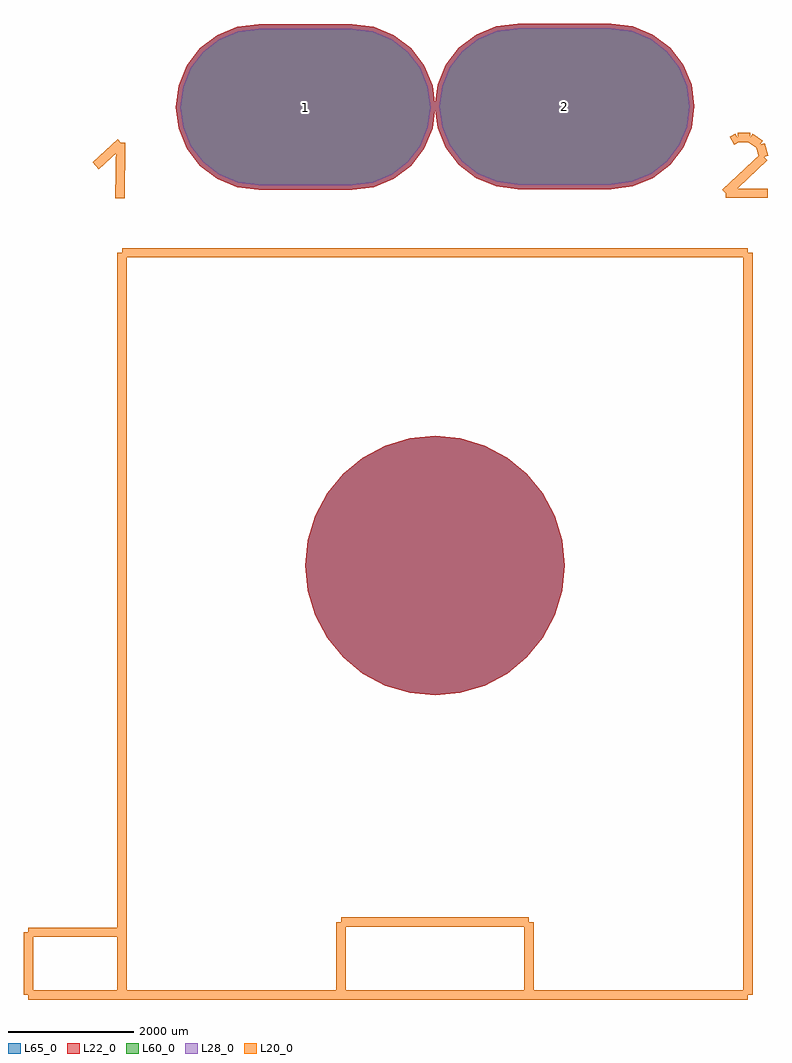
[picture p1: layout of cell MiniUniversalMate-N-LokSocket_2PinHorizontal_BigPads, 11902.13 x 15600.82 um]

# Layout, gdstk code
import gdstk
lib = gdstk.Library(unit=1e-6, precision=1e-09)
def P(c, l, *ps):  # polygons
    for p in ps: c.add(gdstk.Polygon(p, *l))
L20_0 = (20, 0)
L22_0 = (22, 0)
L28_0 = (28, 0)
L60_0 = (60, 0)
L65_0 = (65, 0)

miniuniversalmate_n_loks = lib.new_cell('MiniUniversalMate-N-LokSocket_2PinHorizontal_BigPads')
P(miniuniversalmate_n_loks, L22_0, [(-2820.67,-1334.84),(-1319.53,-1334.84),(-976.678,-1289.703),(-657.19,-1157.367),(-382.84,-946.85),(-172.323,-672.5),(-39.987,-353.012),(5.15,-10.16),(-39.987,332.692),(-172.323,652.18),(-382.84,926.53),(-657.19,1137.047),(-976.678,1269.383),(-1319.53,1314.52),(-2820.67,1314.52),(-3163.522,1269.383),(-3483.01,1137.047),(-3757.36,926.53),(-3967.877,652.18),(-4100.213,332.692),(-4145.35,-10.16),(-4100.213,-353.012),(-3967.877,-672.5),(-3757.36,-946.85),(-3483.01,-1157.367),(-3163.522,-1289.703)],
  [(2075.25,-7340.6),(2035.375,-6935.739),(1917.281,-6546.436),(1725.507,-6187.653),(1467.423,-5873.177),(1152.947,-5615.093),(794.164,-5423.319),(404.861,-5305.225),(0,-5265.35),(-404.861,-5305.225),(-794.164,-5423.319),(-1152.947,-5615.093),(-1467.423,-5873.177),(-1725.507,-6187.653),(-1917.281,-6546.436),(-2035.375,-6935.739),(-2075.25,-7340.6),(-2035.375,-7745.461),(-1917.281,-8134.764),(-1725.507,-8493.547),(-1467.423,-8808.023),(-1152.947,-9066.107),(-794.164,-9257.881),(-404.861,-9375.975),(0,-9415.85),(404.861,-9375.975),(794.164,-9257.881),(1152.947,-9066.107),(1467.423,-8808.023),(1725.507,-8493.547),(1917.281,-8134.764),(2035.375,-7745.461)],
  [(1319.53,-1324.68),(2820.67,-1324.68),(3163.522,-1279.543),(3483.01,-1147.207),(3757.36,-936.69),(3967.877,-662.34),(4100.213,-342.852),(4145.35,0),(4100.213,342.852),(3967.877,662.34),(3757.36,936.69),(3483.01,1147.207),(3163.522,1279.543),(2820.67,1324.68),(1319.53,1324.68),(976.678,1279.543),(657.19,1147.207),(382.84,936.69),(172.323,662.34),(39.987,342.852),(-5.15,0),(39.987,-342.852),(172.323,-662.34),(382.84,-936.69),(657.19,-1147.207),(976.678,-1279.543)])
P(miniuniversalmate_n_loks, L28_0, [(-2820.67,-1259.84),(-1319.53,-1259.84),(-996.089,-1217.258),(-694.69,-1092.415),(-435.873,-893.817),(-237.275,-635),(-112.432,-333.601),(-69.85,-10.16),(-112.432,313.281),(-237.275,614.68),(-435.873,873.497),(-694.69,1072.095),(-996.089,1196.938),(-1319.53,1239.52),(-2820.67,1239.52),(-3144.111,1196.938),(-3445.51,1072.095),(-3704.327,873.497),(-3902.925,614.68),(-4027.768,313.281),(-4070.35,-10.16),(-4027.768,-333.601),(-3902.925,-635),(-3704.327,-893.817),(-3445.51,-1092.415),(-3144.111,-1217.258)],
  [(1319.53,-1249.68),(2820.67,-1249.68),(3144.111,-1207.098),(3445.51,-1082.255),(3704.327,-883.657),(3902.925,-624.84),(4027.768,-323.441),(4070.35,0),(4027.768,323.441),(3902.925,624.84),(3704.327,883.657),(3445.51,1082.255),(3144.111,1207.098),(2820.67,1249.68),(1319.53,1249.68),(996.089,1207.098),(694.69,1082.255),(435.873,883.657),(237.275,624.84),(112.432,323.441),(69.85,0),(112.432,-323.441),(237.275,-624.84),(435.873,-883.657),(694.69,-1082.255),(996.089,-1207.098)])
P(miniuniversalmate_n_loks, L60_0, [(-2820.67,-1259.84),(-1319.53,-1259.84),(-996.089,-1217.258),(-694.69,-1092.415),(-435.873,-893.817),(-237.275,-635),(-112.432,-333.601),(-69.85,-10.16),(-112.432,313.281),(-237.275,614.68),(-435.873,873.497),(-694.69,1072.095),(-996.089,1196.938),(-1319.53,1239.52),(-2820.67,1239.52),(-3144.111,1196.938),(-3445.51,1072.095),(-3704.327,873.497),(-3902.925,614.68),(-4027.768,313.281),(-4070.35,-10.16),(-4027.768,-333.601),(-3902.925,-635),(-3704.327,-893.817),(-3445.51,-1092.415),(-3144.111,-1217.258)],
  [(1319.53,-1249.68),(2820.67,-1249.68),(3144.111,-1207.098),(3445.51,-1082.255),(3704.327,-883.657),(3902.925,-624.84),(4027.768,-323.441),(4070.35,0),(4027.768,323.441),(3902.925,624.84),(3704.327,883.657),(3445.51,1082.255),(3144.111,1207.098),(2820.67,1249.68),(1319.53,1249.68),(996.089,1207.098),(694.69,1082.255),(435.873,883.657),(237.275,624.84),(112.432,323.441),(69.85,0),(112.432,-323.441),(237.275,-624.84),(435.873,-883.657),(694.69,-1082.255),(996.089,-1207.098)])
P(miniuniversalmate_n_loks, L65_0, [(-2820.67,-1334.84),(-1319.53,-1334.84),(-976.678,-1289.703),(-657.19,-1157.367),(-382.84,-946.85),(-172.323,-672.5),(-39.987,-353.012),(5.15,-10.16),(-39.987,332.692),(-172.323,652.18),(-382.84,926.53),(-657.19,1137.047),(-976.678,1269.383),(-1319.53,1314.52),(-2820.67,1314.52),(-3163.522,1269.383),(-3483.01,1137.047),(-3757.36,926.53),(-3967.877,652.18),(-4100.213,332.692),(-4145.35,-10.16),(-4100.213,-353.012),(-3967.877,-672.5),(-3757.36,-946.85),(-3483.01,-1157.367),(-3163.522,-1289.703)],
  [(2075.25,-7340.6),(2035.375,-6935.739),(1917.281,-6546.436),(1725.507,-6187.653),(1467.423,-5873.177),(1152.947,-5615.093),(794.164,-5423.319),(404.861,-5305.225),(0,-5265.35),(-404.861,-5305.225),(-794.164,-5423.319),(-1152.947,-5615.093),(-1467.423,-5873.177),(-1725.507,-6187.653),(-1917.281,-6546.436),(-2035.375,-6935.739),(-2075.25,-7340.6),(-2035.375,-7745.461),(-1917.281,-8134.764),(-1725.507,-8493.547),(-1467.423,-8808.023),(-1152.947,-9066.107),(-794.164,-9257.881),(-404.861,-9375.975),(0,-9415.85),(404.861,-9375.975),(794.164,-9257.881),(1152.947,-9066.107),(1467.423,-8808.023),(1725.507,-8493.547),(1917.281,-8134.764),(2035.375,-7745.461)],
  [(1319.53,-1324.68),(2820.67,-1324.68),(3163.522,-1279.543),(3483.01,-1147.207),(3757.36,-936.69),(3967.877,-662.34),(4100.213,-342.852),(4145.35,0),(4100.213,342.852),(3967.877,662.34),(3757.36,936.69),(3483.01,1147.207),(3163.522,1279.543),(2820.67,1324.68),(1319.53,1324.68),(976.678,1279.543),(657.19,1147.207),(382.84,936.69),(172.323,662.34),(39.987,342.852),(-5.15,0),(39.987,-342.852),(172.323,-662.34),(382.84,-936.69),(657.19,-1147.207),(976.678,-1279.543)])
miniuniversalmate_n_loks.add(gdstk.FlexPath([(-5024.12,-579.12),(-5034.28,-1468.12)], 149.998, ends="flush", simple_path=True, layer=20, datatype=0))  # L20_0
miniuniversalmate_n_loks.add(gdstk.FlexPath([(-5422.9,-949.96),(-5024.12,-579.12)], 149.998, ends="flush", simple_path=True, layer=20, datatype=0))  # L20_0
miniuniversalmate_n_loks.add(gdstk.FlexPath([(4645.66,-1389.38),(5316.22,-1389.38)], 149.998, ends="flush", simple_path=True, layer=20, datatype=0))  # L20_0
miniuniversalmate_n_loks.add(gdstk.FlexPath([(5255.26,-810.26),(4645.66,-1389.38)], 149.998, ends="flush", simple_path=True, layer=20, datatype=0))  # L20_0
miniuniversalmate_n_loks.add(gdstk.FlexPath([(5196.84,-609.6),(5255.26,-810.26)], 149.998, ends="flush", simple_path=True, layer=20, datatype=0))  # L20_0
miniuniversalmate_n_loks.add(gdstk.FlexPath([(5036.82,-500.38),(5196.84,-609.6)], 149.998, ends="flush", simple_path=True, layer=20, datatype=0))  # L20_0
miniuniversalmate_n_loks.add(gdstk.FlexPath([(4836.16,-500.38),(5036.82,-500.38)], 149.998, ends="flush", simple_path=True, layer=20, datatype=0))  # L20_0
miniuniversalmate_n_loks.add(gdstk.FlexPath([(4747.26,-551.18),(4836.16,-500.38)], 149.998, ends="flush", simple_path=True, layer=20, datatype=0))  # L20_0
miniuniversalmate_n_loks.add(gdstk.FlexPath([(0,-14201.14),(5001.26,-14201.14)], 149.998, ends="flush", simple_path=True, layer=20, datatype=0))  # L20_0
miniuniversalmate_n_loks.add(gdstk.FlexPath([(0,-14201.14),(-5001.26,-14201.14)], 149.998, ends="flush", simple_path=True, layer=20, datatype=0))  # L20_0
miniuniversalmate_n_loks.add(gdstk.FlexPath([(5001.26,-2339.34),(5001.26,-14201.14)], 149.998, ends="flush", simple_path=True, layer=20, datatype=0))  # L20_0
miniuniversalmate_n_loks.add(gdstk.FlexPath([(-5001.26,-2339.34),(5001.26,-2339.34)], 149.998, ends="flush", simple_path=True, layer=20, datatype=0))  # L20_0
miniuniversalmate_n_loks.add(gdstk.FlexPath([(-5001.26,-14201.14),(-5001.26,-2339.34)], 149.998, ends="flush", simple_path=True, layer=20, datatype=0))  # L20_0
miniuniversalmate_n_loks.add(gdstk.FlexPath([(-1501.14,-13040.36),(-1501.14,-14201.14)], 149.998, ends="flush", simple_path=True, layer=20, datatype=0))  # L20_0
miniuniversalmate_n_loks.add(gdstk.FlexPath([(1501.14,-13040.36),(-1501.14,-13040.36)], 149.998, ends="flush", simple_path=True, layer=20, datatype=0))  # L20_0
miniuniversalmate_n_loks.add(gdstk.FlexPath([(1501.14,-14201.14),(1501.14,-13040.36)], 149.998, ends="flush", simple_path=True, layer=20, datatype=0))  # L20_0
miniuniversalmate_n_loks.add(gdstk.FlexPath([(-6499.86,-13200.38),(-5001.26,-13200.38)], 149.998, ends="flush", simple_path=True, layer=20, datatype=0))  # L20_0
miniuniversalmate_n_loks.add(gdstk.FlexPath([(-6499.86,-14201.14),(-6499.86,-13200.38)], 149.998, ends="flush", simple_path=True, layer=20, datatype=0))  # L20_0
miniuniversalmate_n_loks.add(gdstk.FlexPath([(-5001.26,-14201.14),(-6499.86,-14201.14)], 149.998, ends="flush", simple_path=True, layer=20, datatype=0))  # L20_0
miniuniversalmate_n_loks.add(gdstk.Label('1', (-2070.1,-10.16), layer=28, texttype=0))
miniuniversalmate_n_loks.add(gdstk.Label('2', (2070.1,0), layer=28, texttype=0))
miniuniversalmate_n_loks.add(gdstk.Label('type', (-160.02,-17840.96), layer=9, texttype=0))
miniuniversalmate_n_loks.add(gdstk.Label('devicename', (71.12,5430.52), layer=9, texttype=0))

lib.write_gds('MiniUniversalMate-N-LokSocket_2PinHorizontal_BigPads.gds')
